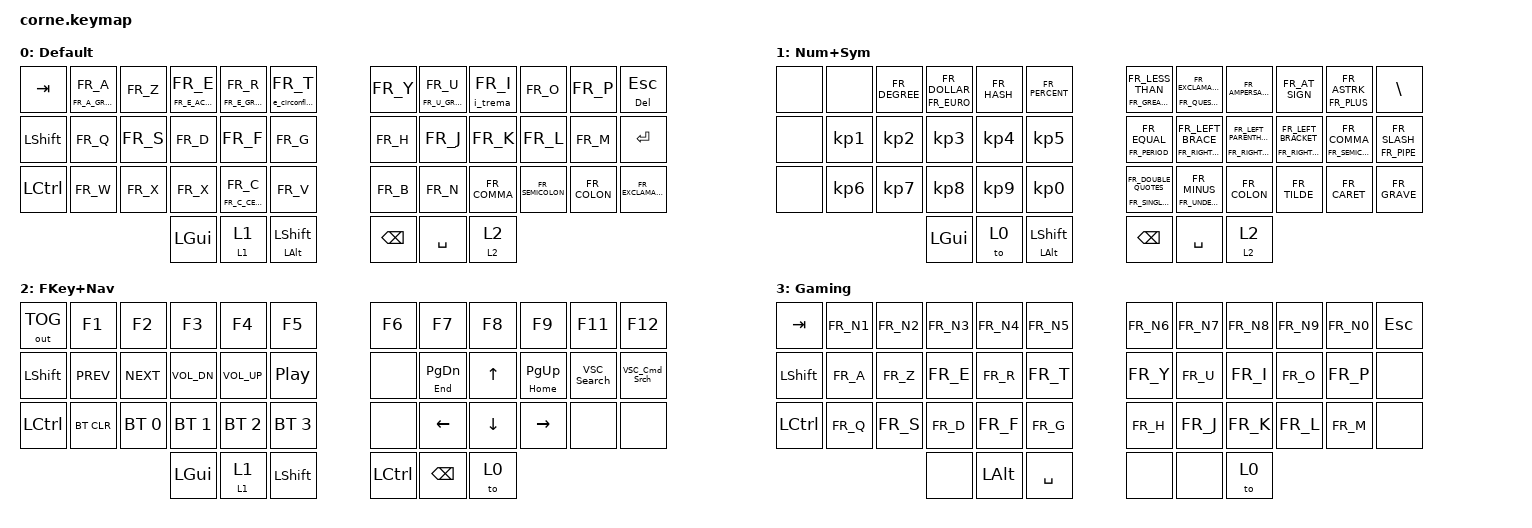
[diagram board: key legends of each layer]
/*
 * Copyright (c) 2020 The ZMK Contributors
 *
 * SPDX-License-Identifier: MIT
 */

#include <behaviors.dtsi>
#include "keys_fr.h"
#include <dt-bindings/zmk/bt.h>
#include <dt-bindings/zmk/keys.h>
#include <dt-bindings/zmk/outputs.h>

&mt {
    flavor = "tap-preferred";
};

/ {
    combos {
        compatible = "zmk,combos";

        Gaming {
            bindings = <&to 3>;
            key-positions = <37 41>;
            layers = <0>;
        };

        esc {
            bindings = <&kp ESCAPE>;
            key-positions = <0 1>;
        };

        WinRight {
            bindings = <&WinRight>;
            key-positions = <36 20>;
        };

        WinLeft {
            bindings = <&WinLeft>;
            key-positions = <36 19>;
        };
    };

    macros {
        VSC_Search: VSC_Search {
            compatible = "zmk,behavior-macro";
            label = "VSC_SEARCH";
            #binding-cells = <0>;
            bindings =
                <&macro_press>,
                <&kp LEFT_CONTROL>,
                <&macro_tap>,
                <&kp P>,
                <&macro_release>,
                <&kp LEFT_CONTROL>;
        };
        VSC_Cmd_Srch: VSC_Cmd_Srch {
            compatible = "zmk,behavior-macro";
            label = "VSC_CMD_SRCH";
            #binding-cells = <0>;
            bindings =
                <&macro_press>,
                <&kp LEFT_CONTROL>,
                <&macro_press>,
                <&kp LEFT_SHIFT>,
                <&macro_tap>,
                <&kp P>,
                <&macro_release>,
                <&kp LEFT_SHIFT>,
                <&macro_release>,
                <&kp LEFT_CONTROL>;
        };
        WinRight: WinRight {
            compatible = "zmk,behavior-macro";
            label = "WINRIGHT";
            #binding-cells = <0>;
            bindings =
                <&macro_press>,
                <&kp LEFT_WIN>,
                <&macro_tap>,
                <&kp RIGHT>,
                <&macro_release>,
                <&kp LEFT_WIN>;
        };
        WinLeft: WinLeft {
            compatible = "zmk,behavior-macro";
            label = "WINLEFT";
            #binding-cells = <0>;
            bindings =
                <&macro_press>,
                <&kp LEFT_WIN>,
                <&macro_tap>,
                <&kp LEFT_ARROW>,
                <&macro_release>,
                <&kp LEFT_WIN>;
        };
        e_circonflexe: e_circonflexe {
            compatible = "zmk,behavior-macro";
            label = "E_CIRCONFLEXE";
            #binding-cells = <0>;
            bindings =
                <&macro_tap>,
                <&kp FR_CARET>,
                <&macro_tap>,
                <&kp FR_E>;
        };
        i_trema: i_trema {
            compatible = "zmk,behavior-macro";
            label = "I_TREMA";
            #binding-cells = <0>;
            bindings =
                <&macro_tap>,
                <&kp LS(FR_UMLAUT)>,
                <&macro_tap>,
                <&kp FR_I>;
        };
    };

    behaviors {
        mo_tog: mo_tog {
            compatible = "zmk,behavior-hold-tap";
            label = "MO_TOG";
            bindings =
                <&mo>,
                <&tog>;

            #binding-cells = <2>;
            tapping-term-ms = <200>;
        };
        hold_sticky: hold_sticky {
            compatible = "zmk,behavior-hold-tap";
            label = "HOLD_STICKY";
            bindings =
                <&kp>,
                <&sk>;

            #binding-cells = <2>;
            tapping-term-ms = <200>;
        };
        e_circonflexe_behav: e_circonflexe_behav {
            compatible = "zmk,behavior-hold-tap";
            label = "E_CIRCONFLEXE_BEHAV";
            bindings =
                <&e_circonflexe>,
                <&kp>;

            #binding-cells = <2>;
            tapping-term-ms = <200>;
        };
        i_trema_behav: i_trema_behav {
            compatible = "zmk,behavior-hold-tap";
            label = "I_TREMA_BEHAV";
            bindings =
                <&i_trema>,
                <&kp>;

            #binding-cells = <2>;
            tapping-term-ms = <200>;
        };
    };

    keymap {
        compatible = "zmk,keymap";

        Default {
            // -----------------------------------------------------------------------------------------
            // |  TAB |  Q  |  W  |  E  |  R  |  T  |   |  Y  |  U   |  I  |  O  |  P  | BKSP |
            // | CTRL |  A  |  S  |  D  |  F  |  G  |   |  H  |  J   |  K  |  L  |  ;  |  '   |
            // | SHFT |  Z  |  X  |  C  |  V  |  B  |   |  N  |  M   |  ,  |  .  |  /  | ESC  |
            //                    | GUI | LWR | SPC |   | ENT | RSE  | ALT |

            bindings = <
         &kp TAB  &mt FR_A_GRAVE FR_A  &kp FR_Z  &mt FR_E_ACUTE FR_E    &mt FR_E_GRAVE FR_R       &e_circonflexe_behav 0 FR_T         &kp FR_Y  &mt FR_U_GRAVE FR_U  &i_trema_behav 0 FR_I          &kp FR_O      &kp FR_P      &mt DELETE ESC
  &kp LEFT_SHIFT             &kp FR_Q  &kp FR_S             &kp FR_D               &kp FR_F                          &kp FR_G         &kp FR_H             &kp FR_J               &kp FR_K          &kp FR_L      &kp FR_M           &kp ENTER
&kp LEFT_CONTROL             &kp FR_W  &kp FR_X             &kp FR_X  &mt FR_C_CEDILLA FR_C                          &kp FR_V         &kp FR_B             &kp FR_N           &kp FR_COMMA  &kp FR_SEMICOLON  &kp FR_COLON  &kp FR_EXCLAMATION
                                                            &kp LGUI            &mo_tog 1 1  &hold_sticky LEFT_ALT LEFT_SHIFT    &kp BACKSPACE            &kp SPACE            &mo_tog 2 2
            >;
        };

        Num+Sym {
            // -----------------------------------------------------------------------------------------
            // |  TAB |  1  |  2  |  3  |  4  |  5  |   |  6  |  7  |  8  |  9  |  0  | BKSP |
            // | BTCLR| BT1 | BT2 | BT3 | BT4 | BT5 |   | LFT | DWN |  UP | RGT |     |      |
            // | SHFT |     |     |     |     |     |   |     |     |     |     |     |      |
            //                    | GUI |     | SPC |   | ENT |     | ALT |

            bindings = <
&none            &none    &kp FR_DEGREE  &mt FR_EURO FR_DOLLAR      &kp FR_HASH                    &kp FR_PERCENT        &mt FR_GREATER_THAN FR_LESS_THAN    &mt FR_QUESTION FR_EXCLAMATION                              &kp FR_AMPERSAND                        &kp FR_AT_SIGN       &mt FR_PLUS FR_ASTRK         &kp BACKSLASH
&none  &kp KP_NUMBER_1  &kp KP_NUMBER_2        &kp KP_NUMBER_3  &kp KP_NUMBER_4                   &kp KP_NUMBER_5                  &mt FR_PERIOD FR_EQUAL  &mt FR_RIGHT_BRACE FR_LEFT_BRACE  &mt FR_RIGHT_PARENTHESIS FR_LEFT_PARENTHESIS  &mt FR_RIGHT_BRACKET FR_LEFT_BRACKET  &mt FR_SEMICOLON FR_COMMA  &mt FR_PIPE FR_SLASH
&none  &kp KP_NUMBER_6  &kp KP_NUMBER_7        &kp KP_NUMBER_8  &kp KP_NUMBER_9                   &kp KP_NUMBER_0    &mt FR_SINGLE_QUOTE FR_DOUBLE_QUOTES        &mt FR_UNDERSCORE FR_MINUS                                  &kp FR_COLON                          &kp FR_TILDE               &kp FR_CARET          &kp FR_GRAVE
                                                      &kp LGUI            &to 0  &hold_sticky LEFT_ALT LEFT_SHIFT                           &kp BACKSPACE                         &kp SPACE                                   &mo_tog 2 2
            >;
        };

        FKey+Nav {
            // -----------------------------------------------------------------------------------------
            // |  TAB |  !  |  @  |  #  |  $  |  %  |   |  ^  |  &  |  *  |  (  |  )  | BKSP |
            // | CTRL |     |     |     |     |     |   |  -  |  =  |  [  |  ]  |  \  |  `   |
            // | SHFT |     |     |     |     |     |   |  _  |  +  |  {  |  }  | "|" |  ~   |
            //                    | GUI |     | SPC |   | ENT |     | ALT |

            bindings = <
    &out OUT_TOG      &kp F1        &kp F2        &kp F3        &kp F4            &kp F5              &kp F6             &kp F7          &kp F8            &kp F9      &kp F11        &kp F12
  &kp LEFT_SHIFT  &kp C_PREV    &kp C_NEXT  &kp C_VOL_DN  &kp C_VOL_UP  &kp C_PLAY_PAUSE               &none  &mt END PAGE_DOWN    &kp UP_ARROW  &mt HOME PAGE_UP  &VSC_Search  &VSC_Cmd_Srch
&kp LEFT_CONTROL  &bt BT_CLR  &bt BT_SEL 0  &bt BT_SEL 1  &bt BT_SEL 2      &bt BT_SEL 3               &none     &kp LEFT_ARROW  &kp DOWN_ARROW   &kp RIGHT_ARROW        &none          &none
                                                &kp LGUI   &mo_tog 1 1    &kp LEFT_SHIFT    &kp LEFT_CONTROL      &kp BACKSPACE           &to 0
            >;
        };

        Gaming {
            bindings = <
         &kp TAB  &kp FR_N1  &kp FR_N2  &kp FR_N3     &kp FR_N4  &kp FR_N5    &kp FR_N6  &kp FR_N7  &kp FR_N8  &kp FR_N9  &kp FR_N0  &kp ESCAPE
  &kp LEFT_SHIFT   &kp FR_A   &kp FR_Z   &kp FR_E      &kp FR_R   &kp FR_T     &kp FR_Y   &kp FR_U   &kp FR_I   &kp FR_O   &kp FR_P       &none
&kp LEFT_CONTROL   &kp FR_Q   &kp FR_S   &kp FR_D      &kp FR_F   &kp FR_G     &kp FR_H   &kp FR_J   &kp FR_K   &kp FR_L   &kp FR_M       &none
                                            &none  &kp LEFT_ALT  &kp SPACE        &none      &none      &to 0
            >;
        };
    };
};
